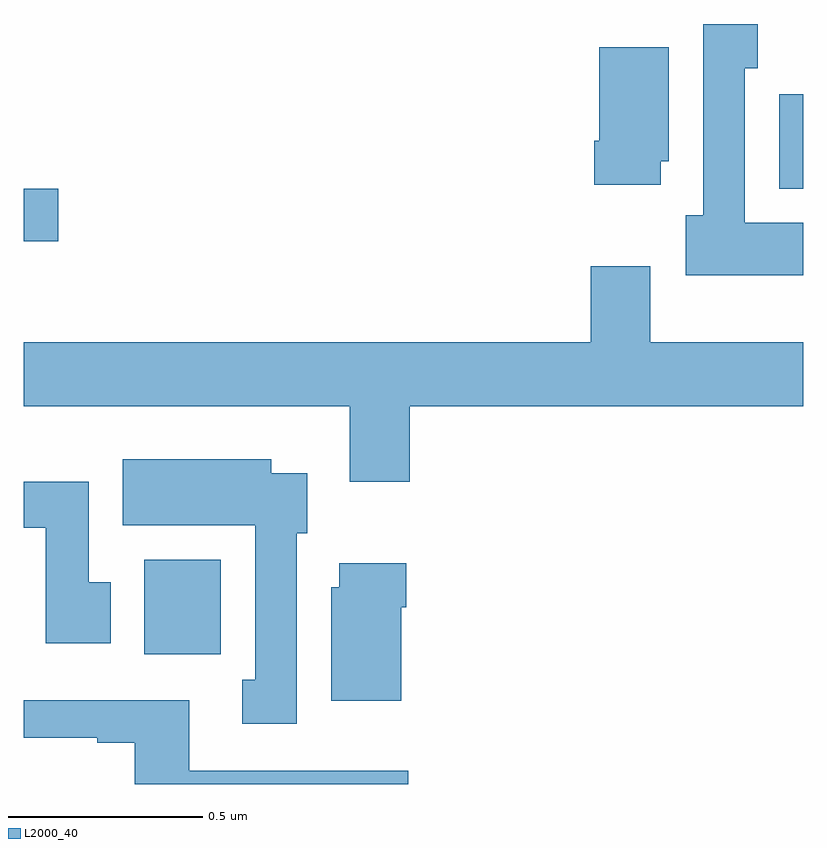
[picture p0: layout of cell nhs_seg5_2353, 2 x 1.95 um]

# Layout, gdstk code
import gdstk
lib = gdstk.Library(unit=1e-6, precision=1e-09)
def R(c, l, rs):  # rectangles x0, y0, x1, y1
    for r in rs: c.add(gdstk.rectangle(r[:2], r[2:], *l))
def P(c, l, *ps):  # polygons
    for p in ps: c.add(gdstk.Polygon(p, *l))
L2000_40 = (2000, 40)

nhs_seg5_2353 = lib.new_cell('nhs_seg5_2353')
R(nhs_seg5_2353, L2000_40, [(143.309,848.132,143.506,848.374), (143,849.191,143.089,849.326), (144.938,849.326,145,849.568)])
P(nhs_seg5_2353, L2000_40, [(145,849.238),(144.85,849.238),(144.85,849.635),(144.883,849.635),(144.883,849.748),(144.743,849.748),(144.743,849.258),(144.698,849.258),(144.698,849.104),(145,849.104)],
  [(144.634,849.396),(144.655,849.396),(144.655,849.688),(144.476,849.688),(144.476,849.448),(144.464,849.448),(144.464,849.336),(144.634,849.336)],
  [(143.99,848.768),(145,848.768),(145,848.932),(144.607,848.932),(144.607,849.127),(144.455,849.127),(144.455,848.932),(143,848.932),(143,848.768),(143.837,848.768),(143.837,848.574),(143.99,848.574)],
  [(143.701,848.442),(143.728,848.442),(143.728,848.596),(143.635,848.596),(143.635,848.632),(143.255,848.632),(143.255,848.462),(143.594,848.462),(143.594,848.066),(143.561,848.066),(143.561,847.953),(143.701,847.953)],
  [(143.224,848.316),(143.167,848.316),(143.167,848.574),(143,848.574),(143,848.456),(143.057,848.456),(143.057,848.16),(143.224,848.16)],
  [(143.968,848.252),(143.981,848.252),(143.981,848.365),(143.81,848.365),(143.81,848.304),(143.789,848.304),(143.789,848.012),(143.968,848.012)],
  [(143.986,847.833),(143.425,847.833),(143.425,848.014),(143,848.014),(143,847.917),(143.189,847.917),(143.189,847.905),(143.285,847.905),(143.285,847.799),(143.986,847.799)])

lib.write_gds('nhs_seg5_2353.gds')
